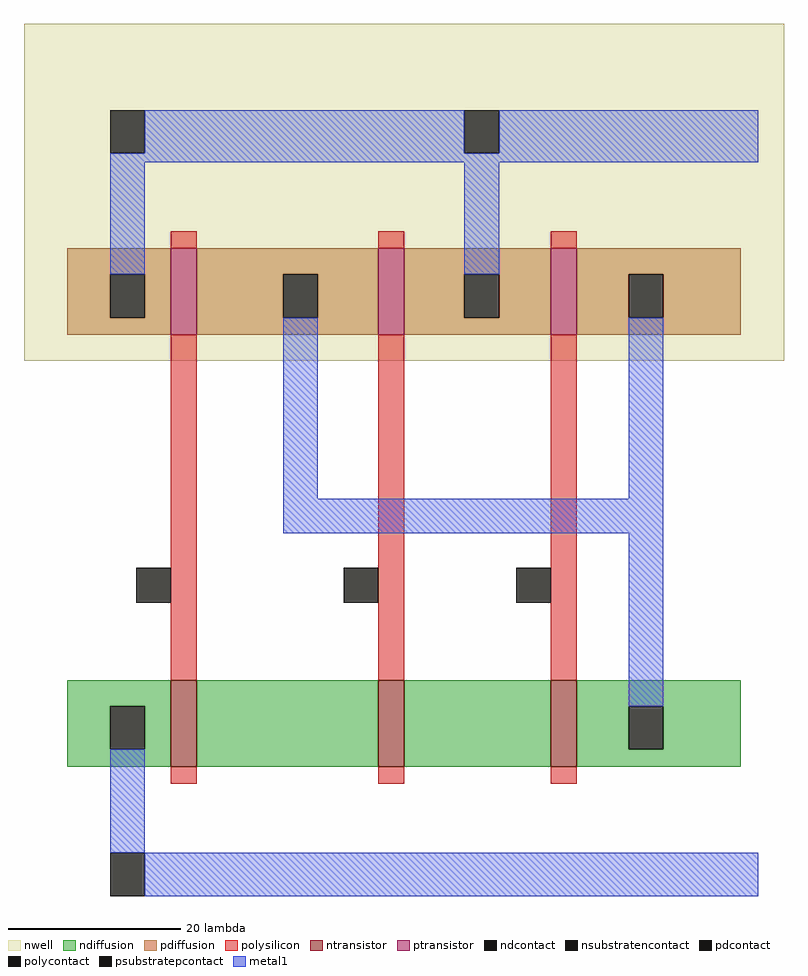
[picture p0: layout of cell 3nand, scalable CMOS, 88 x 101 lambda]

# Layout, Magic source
magic
tech scmos
<< nwell >>
rect -34 -9 54 30
<< polysilicon >>
rect -17 4 -14 6
rect 7 4 10 6
rect 27 4 30 6
rect -17 -46 -14 -6
rect 7 -46 10 -6
rect 27 -46 30 -6
rect -17 -58 -14 -56
rect 7 -58 10 -56
rect 27 -58 30 -56
<< ndiffusion >>
rect -29 -49 -17 -46
rect -29 -54 -24 -49
rect -20 -54 -17 -49
rect -29 -56 -17 -54
rect -14 -56 7 -46
rect 10 -56 27 -46
rect 30 -49 49 -46
rect 30 -54 36 -49
rect 40 -54 49 -49
rect 30 -56 49 -54
<< pdiffusion >>
rect -29 1 -17 4
rect -29 -4 -24 1
rect -20 -4 -17 1
rect -29 -6 -17 -4
rect -14 1 7 4
rect -14 -4 -4 1
rect 0 -4 7 1
rect -14 -6 7 -4
rect 10 1 27 4
rect 10 -4 17 1
rect 21 -4 27 1
rect 10 -6 27 -4
rect 30 1 49 4
rect 30 -4 36 1
rect 40 -4 49 1
rect 30 -6 49 -4
<< metal1 >>
rect -20 15 17 20
rect 21 15 51 20
rect -24 14 51 15
rect -24 1 -20 14
rect 17 1 21 14
rect -4 -25 0 -4
rect 36 -25 40 -4
rect -4 -29 40 -25
rect 36 -49 40 -29
rect -24 -66 -20 -54
rect -20 -71 51 -66
<< ntransistor >>
rect -17 -56 -14 -46
rect 7 -56 10 -46
rect 27 -56 30 -46
<< ptransistor >>
rect -17 -6 -14 4
rect 7 -6 10 4
rect 27 -6 30 4
<< polycontact >>
rect -21 -37 -17 -33
rect 3 -37 7 -33
rect 23 -37 27 -33
<< ndcontact >>
rect -24 -54 -20 -49
rect 36 -54 40 -49
<< pdcontact >>
rect -24 -4 -20 1
rect -4 -4 0 1
rect 17 -4 21 1
rect 36 -4 40 1
<< psubstratepcontact >>
rect -24 -71 -20 -66
<< nsubstratencontact >>
rect -24 15 -20 20
rect 17 15 21 20
<< end >>
